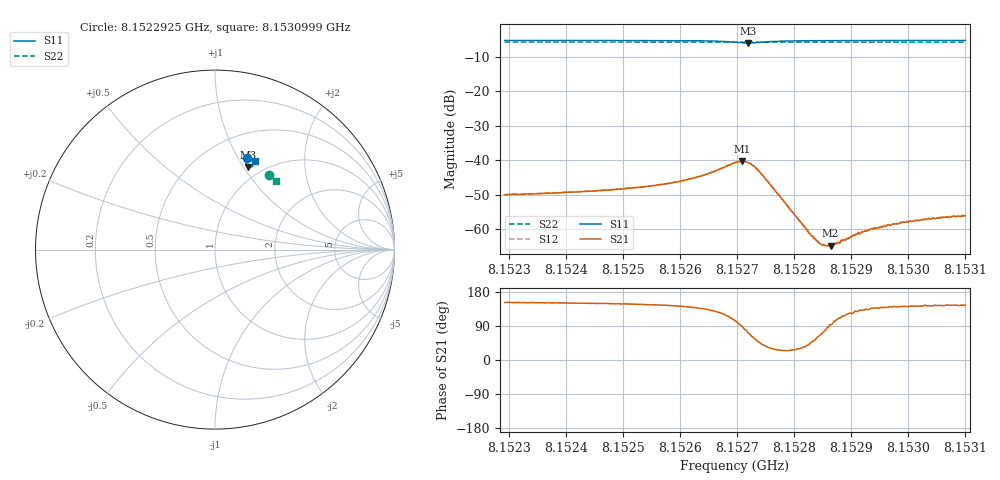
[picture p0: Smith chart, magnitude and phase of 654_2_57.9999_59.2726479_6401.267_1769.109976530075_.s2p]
#  HZ  S  RI  R  50.00
! Rohde & Schwarz Vector Network Analyzer
! Rohde-Schwarz,ZNB20-2Port,1311601062101988,3.16
! Created: UTC 3/21/2024, 1:19:40 AM
! freq[Hz]  re:S11  im:S11  re:S21  im:S21  re:S12  im:S12  re:S22  im:S22
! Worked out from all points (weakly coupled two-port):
!   401 points, 8.1522925 GHz to 8.1530999 GHz, reference 50 ohm
!   highest |S21| = -40.23 dB at 8.1527083 GHz (marker M1); lowest = -64.7 dB at 8.1528637 GHz (marker M2)
!   lowest |S11| = -6.1 dB at 8.1527184 GHz (marker M3), VSWR 2.97, Z = 43.1 + j52.6 ohm
!   |S11| at or under -10 dB: nowhere
!   |S22| runs from -5.9 to -5.8 dB; largest |S21 - S12| = 0.00026
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8.15229249e9  0.1772 0.5108  -0.00278 0.0015  -0.00279 0.00157  0.3015 0.4136
8.15242773e9  0.1876 0.5069  -0.00303 0.00177  -0.00301 0.00184  0.3084 0.4082
8.15250039e9  0.1939 0.5043  -0.00327 0.00205  -0.00328 0.00213  0.3121 0.4052
8.15256296e9  0.2001 0.5009  -0.00363 0.00251  -0.00359 0.0026  0.3151 0.4026
8.15259929e9  0.2045 0.4979  -0.0039 0.00303  -0.00391 0.00312  0.317 0.401
8.15263562e9  0.2096 0.4924  -0.00424 0.00408  -0.00424 0.00413  0.3187 0.3994
8.15269618e9  0.2084 0.465  -0.00217 0.00899  -0.00217 0.00903  0.3211 0.3961
8.15270829e9  0.1976 0.4588  0.000126 0.00974  0.000317 0.00969  0.3214 0.3956
8.15271838e9  0.1858 0.4597  0.00275 0.00888  0.00273 0.00903  0.3213 0.3954
8.15272847e9  0.1765 0.467  0.00426 0.00713  0.00442 0.00713  0.3216 0.3953
8.15274462e9  0.173 0.4817  0.00459 0.00393  0.00469 0.00394  0.3225 0.3952
8.15282536e9  0.1942 0.5003  0.000686 0.000567  0.000729 0.000577  0.3272 0.3923
8.15283141e9  0.1952 0.5002  0.000536 0.000585  0.000572 0.000585  0.3275 0.3922
8.1528415e9  0.1969 0.5003  0.000315 0.000569  0.000326 0.000596  0.3281 0.3917
8.15284958e9  0.1981 0.5001  0.000186 0.000577  0.00017 0.000548  0.3283 0.3913
8.15286371e9  0.2 0.5  -3.52e-05 0.000578  -2.95e-05 0.000603  0.3293 0.3909
8.15287582e9  0.2017 0.4998  -0.000198 0.000614  -0.000169 0.000601  0.3298 0.3903
8.15290811e9  0.2053 0.4992  -0.000534 0.000672  -0.000501 0.000687  0.3315 0.389
8.15293233e9  0.2078 0.4985  -0.000702 0.000711  -0.000679 0.000685  0.3326 0.3878
8.15296665e9  0.211 0.4977  -0.000902 0.000733  -0.000897 0.000764  0.3343 0.3863
8.15302518e9  0.216 0.496  -0.00111 0.000856  -0.00109 0.000823  0.337 0.3838
8.15309986e9  0.2217 0.4939  -0.00127 0.000931  -0.00128 0.000935  0.3407 0.3807
